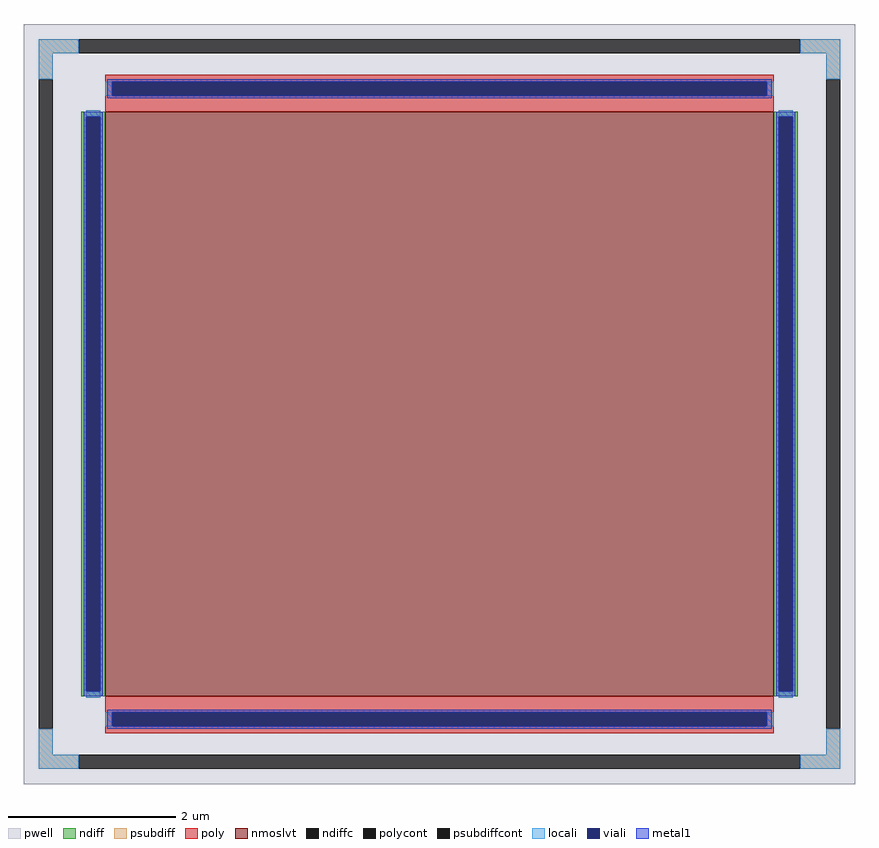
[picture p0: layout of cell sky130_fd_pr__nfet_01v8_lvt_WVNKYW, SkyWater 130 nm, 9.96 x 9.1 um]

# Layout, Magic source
magic
tech sky130A
<< pwell >>
rect -498 -455 498 455
<< nmoslvt >>
rect -400 -350 400 350
<< ndiff >>
rect -429 344 -400 350
rect -429 -344 -423 344
rect -406 -344 -400 344
rect -429 -350 -400 -344
rect 400 344 429 350
rect 400 -344 406 344
rect 423 -344 429 344
rect 400 -350 429 -344
<< ndiffc >>
rect -423 -344 -406 344
rect 406 -344 423 344
<< psubdiff >>
rect -480 420 -432 437
rect 432 420 480 437
rect -480 389 -463 420
rect 463 389 480 420
rect -480 -420 -463 -389
rect 463 -420 480 -389
rect -480 -437 -432 -420
rect 432 -437 480 -420
<< psubdiffcont >>
rect -432 420 432 437
rect -480 -389 -463 389
rect 463 -389 480 389
rect -432 -437 432 -420
<< poly >>
rect -400 386 400 394
rect -400 369 -392 386
rect 392 369 400 386
rect -400 350 400 369
rect -400 -369 400 -350
rect -400 -386 -392 -369
rect 392 -386 400 -369
rect -400 -394 400 -386
<< polycont >>
rect -392 369 392 386
rect -392 -386 392 -369
<< locali >>
rect -480 420 -432 437
rect 432 420 480 437
rect -480 389 -463 420
rect 463 389 480 420
rect -400 369 -392 386
rect 392 369 400 386
rect -423 344 -406 352
rect -423 -352 -406 -344
rect 406 344 423 352
rect 406 -352 423 -344
rect -400 -386 -392 -369
rect 392 -386 400 -369
rect -480 -420 -463 -389
rect 463 -420 480 -389
rect -480 -437 -432 -420
rect 432 -437 480 -420
<< viali >>
rect -392 369 392 386
rect -423 -344 -406 344
rect 406 -344 423 344
rect -392 -386 392 -369
<< metal1 >>
rect -398 386 398 389
rect -398 369 -392 386
rect 392 369 398 386
rect -398 366 398 369
rect -426 344 -403 350
rect -426 -344 -423 344
rect -406 -344 -403 344
rect -426 -350 -403 -344
rect 403 344 426 350
rect 403 -344 406 344
rect 423 -344 426 344
rect 403 -350 426 -344
rect -398 -369 398 -366
rect -398 -386 -392 -369
rect 392 -386 398 -369
rect -398 -389 398 -386
<< properties >>
string FIXED_BBOX -471 -428 471 428
string gencell sky130_fd_pr__nfet_01v8_lvt
string library sky130
string parameters w 7.0 l 8.0 m 1 nf 1 diffcov 100 polycov 100 guard 1 glc 1 grc 1 gtc 1 gbc 1 tbcov 100 rlcov 100 topc 1 botc 1 poverlap 0 doverlap 1 lmin 0.15 wmin 0.42 compatible {sky130_fd_pr__nfet_01v8 sky130_fd_pr__nfet_01v8_lvt  sky130_fd_bs_flash__special_sonosfet_star  sky130_fd_pr__nfet_g5v0d10v5 sky130_fd_pr__nfet_05v0_nvt  sky130_fd_pr__nfet_03v3_nvt} full_metal 1 viasrc 100 viadrn 100 viagate 100 viagb 0 viagr 0 viagl 0 viagt 0
<< end >>
